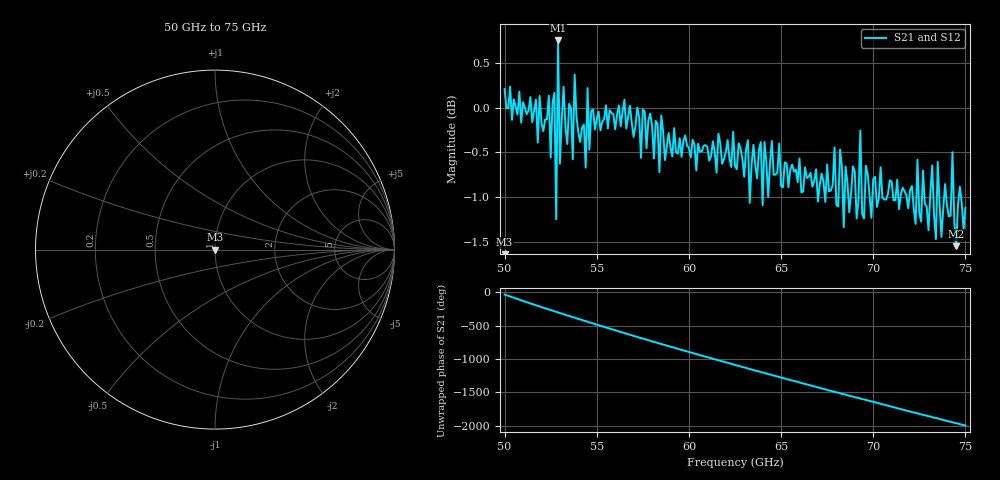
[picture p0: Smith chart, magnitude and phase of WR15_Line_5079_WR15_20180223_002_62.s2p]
# GHZ S RI R 50
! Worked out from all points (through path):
!   251 points, 50 GHz to 75 GHz, reference 50 ohm
!   highest |S21| = 0.75 dB at 52.9 GHz (marker M1); lowest = -1.6 dB at 74.5 GHz (marker M2)
!   lowest |S11| = - dB at 50 GHz (marker M3), VSWR 1.00, Z = 50 + j1.42e-16 ohm
!   |S11| at or under -10 dB: start of sweep to end of sweep
!   |S22| runs from - to - dB; largest |S21 - S12| = 1.4e-15
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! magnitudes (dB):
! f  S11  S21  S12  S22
! 50 GHz  -  0.2  0.2  -
! 52.4 GHz  -  0.1  0.1  -
! 52.5 GHz  -  -0.6  -0.6  -
! 52.7 GHz  -  0.2  0.2  -
! 52.8 GHz  -  -1.2  -1.2  -
! 52.9 GHz  -  0.8  0.8  -
! 53 GHz  -  -0.6  -0.6  -
! 53.2 GHz  -  0.2  0.2  -
! 54.2 GHz  -  -0.2  -0.2  -
! 58.4 GHz  -  -0.7  -0.7  -
! 58.5 GHz  -  -0.1  -0.1  -
! 62.5 GHz  -  -0.7  -0.7  -
! 66.7 GHz  -  -0.9  -0.9  -
! 70.9 GHz  -  -0.8  -0.8  -
! 73 GHz  -  -1.4  -1.4  -
! 73.2 GHz  -  -0.6  -0.6  -
! 73.4 GHz  -  -1.5  -1.5  -
! 73.5 GHz  -  -0.6  -0.6  -
! 73.7 GHz  -  -1.4  -1.4  -
! 74.3 GHz  -  -0.5  -0.5  -
! 74.5 GHz  -  -1.6  -1.6  -
! 75 GHz  -  -1.1  -1.1  -
